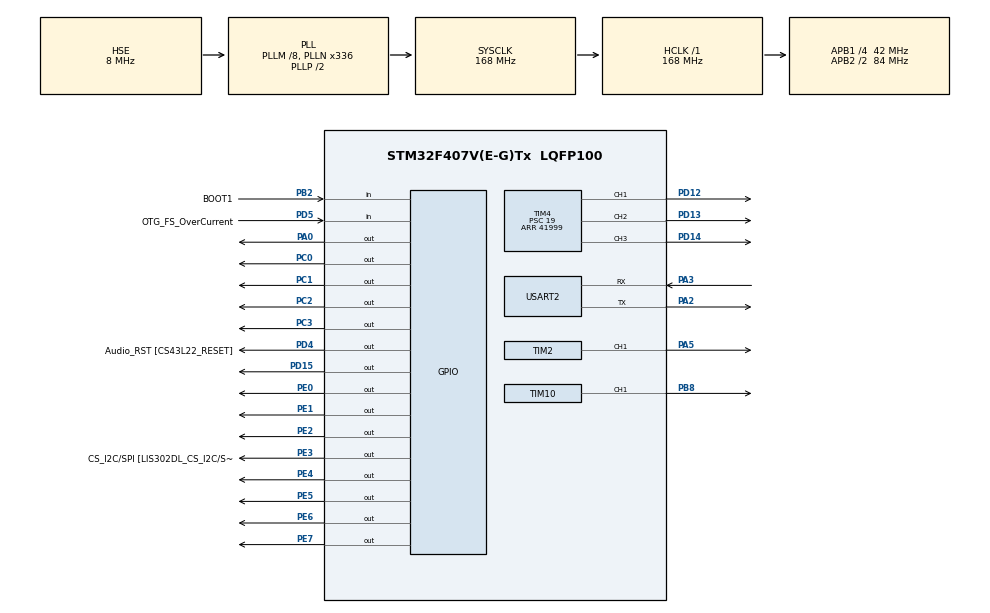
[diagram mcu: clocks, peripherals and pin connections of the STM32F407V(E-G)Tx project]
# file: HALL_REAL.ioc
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Mcu.Family=STM32F4
Mcu.Name=STM32F407V(E-G)Tx
Mcu.Package=LQFP100
NVIC.PriorityGroup=NVIC_PRIORITYGROUP_0
NVIC.TIM7_IRQn=true\:0\:0\:false\:true\:true\:2\:true\:true\:true
NVIC.USART2_IRQn=true\:0\:0\:false\:true\:true\:1\:true\:true\:true
PA0-WKUP.Signal=GPIO_Output
PA10.GPIO_Label=OTG_FS_ID
PA10.GPIO_Mode=GPIO_MODE_AF_PP
PA10.GPIO_PuPd=GPIO_NOPULL
PA10.GPIO_Speed=GPIO_SPEED_FREQ_LOW
PA10.Signal=USB_OTG_FS_ID
PA11.GPIO_Label=OTG_FS_DM
PA11.GPIO_Mode=GPIO_MODE_AF_PP
PA11.GPIO_PuPd=GPIO_NOPULL
PA11.GPIO_Speed=GPIO_SPEED_FREQ_LOW
PA11.Signal=USB_OTG_FS_DM
PA12.GPIO_Label=OTG_FS_DP
PA12.GPIO_Mode=GPIO_MODE_AF_PP
PA12.GPIO_PuPd=GPIO_NOPULL
PA12.GPIO_Speed=GPIO_SPEED_FREQ_LOW
PA12.Signal=USB_OTG_FS_DP
PA13.GPIO_Label=SWDIO
PA13.Mode=Serial_Wire
PA13.Signal=SYS_JTMS-SWDIO
PA14.GPIO_Label=SWCLK
PA14.Mode=Serial_Wire
PA14.Signal=SYS_JTCK-SWCLK
PA2.Mode=Asynchronous
PA2.Signal=USART2_TX
PA3.Mode=Asynchronous
PA3.Signal=USART2_RX
PA4.GPIO_Label=I2S3_WS [CS43L22_LRCK]
PA4.GPIO_Mode=GPIO_MODE_AF_PP
PA4.GPIO_PuPd=GPIO_NOPULL
PA4.GPIO_Speed=GPIO_SPEED_FREQ_LOW
PA4.Signal=I2S3_WS
PA5.Signal=S_TIM2_CH1_ETR
PA6.GPIO_Label=SPI1_MISO [LIS302DL_SDO]
PA6.GPIO_Mode=GPIO_MODE_AF_PP
PA6.GPIO_PuPd=GPIO_NOPULL
PA6.GPIO_Speed=GPIO_SPEED_FREQ_LOW
PA6.Signal=SPI1_MISO
PA7.GPIO_Label=SPI1_MOSI [LIS302DL_SDA/SDI/SDO]
PA7.GPIO_Mode=GPIO_MODE_AF_PP
PA7.GPIO_PuPd=GPIO_NOPULL
PA7.GPIO_Speed=GPIO_SPEED_FREQ_LOW
PA7.Signal=SPI1_MOSI
PA9.GPIO_Label=VBUS_FS
PA9.GPIO_Mode=GPIO_MODE_INPUT
PA9.GPIO_PuPd=GPIO_NOPULL
PA9.Signal=USB_OTG_FS_VBUS
PB10.GPIO_Label=CLK_IN [MP45DT02_CLK]
PB10.GPIO_Mode=GPIO_MODE_AF_PP
PB10.GPIO_PuPd=GPIO_NOPULL
PB10.GPIO_Speed=GPIO_SPEED_FREQ_LOW
PB10.Signal=I2S2_CK
PB2.GPIO_Label=BOOT1
PB2.GPIO_Mode=GPIO_MODE_INPUT
PB2.GPIO_PuPd=GPIO_NOPULL
PB2.Signal=GPIO_Input
PB3.GPIO_Label=SWO
PB3.Signal=SYS_JTDO-SWO
PB6.GPIO_Label=Audio_SCL [CS43L22_SCL]
PB6.GPIO_Mode=GPIO_MODE_AF_OD
PB6.GPIO_Pu=GPIO_PULLUP
PB6.GPIO_PuPd=GPIO_NOPULL
PB6.GPIO_Speed=GPIO_SPEED_FREQ_LOW
PB6.Signal=I2C1_SCL
PB8.Signal=S_TIM10_CH1
PB9.GPIO_Label=Audio_SDA [CS43L22_SDA]
PB9.GPIO_Mode=GPIO_MODE_AF_OD
PB9.GPIO_Pu=GPIO_PULLUP
PB9.GPIO_PuPd=GPIO_NOPULL
PB9.GPIO_Speed=GPIO_SPEED_FREQ_LOW
PB9.Signal=I2C1_SDA
PC0.Signal=GPIO_Output
PC1.Signal=GPIO_Output
PC10.GPIO_Label=I2S3_SCK [CS43L22_SCLK]
PC10.GPIO_Mode=GPIO_MODE_AF_PP
PC10.GPIO_PuPd=GPIO_NOPULL
PC10.GPIO_Speed=GPIO_SPEED_FREQ_LOW
PC10.Signal=I2S3_CK
PC12.GPIO_Label=I2S3_SD [CS43L22_SDIN]
PC12.GPIO_Mode=GPIO_MODE_AF_PP
PC12.GPIO_PuPd=GPIO_NOPULL
PC12.GPIO_Speed=GPIO_SPEED_FREQ_LOW
PC12.Signal=I2S3_SD
PC14-OSC32_IN.GPIO_Label=PC14-OSC32_IN
PC14-OSC32_IN.Mode=LSE-External-Oscillator
PC14-OSC32_IN.Signal=RCC_OSC32_IN
PC15-OSC32_OUT.GPIO_Label=PC15-OSC32_OUT
PC15-OSC32_OUT.Mode=LSE-External-Oscillator
PC15-OSC32_OUT.Signal=RCC_OSC32_OUT
PC2.Signal=GPIO_Output
PC3.Signal=GPIO_Output
PC7.GPIO_Label=I2S3_MCK [CS43L22_MCLK]
PC7.GPIO_Mode=GPIO_MODE_AF_PP
PC7.GPIO_PuPd=GPIO_NOPULL
PC7.GPIO_Speed=GPIO_SPEED_FREQ_LOW
PC7.Signal=I2S3_MCK
PD12.Signal=S_TIM4_CH1
PD13.Signal=S_TIM4_CH2
PD14.Signal=S_TIM4_CH3
PD15.Signal=GPIO_Output
PD4.GPIO_Label=Audio_RST [CS43L22_RESET]
PD4.GPIO_PuPd=GPIO_NOPULL
PD4.GPIO_Speed=GPIO_SPEED_FREQ_LOW
PD4.Signal=GPIO_Output
PD5.GPIO_Label=OTG_FS_OverCurrent
PD5.GPIO_Mode=GPIO_MODE_INPUT
PD5.GPIO_PuPd=GPIO_NOPULL
PD5.Signal=GPIO_Input
PE0.Signal=GPIO_Output
PE1.Signal=GPIO_Output
PE2.Signal=GPIO_Output
PE3.GPIO_Label=CS_I2C/SPI [LIS302DL_CS_I2C/SPI]
PE3.GPIO_PuPd=GPIO_NOPULL
PE3.GPIO_Speed=GPIO_SPEED_FREQ_LOW
PE3.Signal=GPIO_Output
PE4.Signal=GPIO_Output
PE5.Signal=GPIO_Output
PE6.Signal=GPIO_Output
PE7.Signal=GPIO_Output
PH0-OSC_IN.GPIO_Label=PH0-OSC_IN
PH0-OSC_IN.Mode=HSE-External-Oscillator
PH0-OSC_IN.Signal=RCC_OSC_IN
PH1-OSC_OUT.GPIO_Label=PH1-OSC_OUT
PH1-OSC_OUT.Mode=HSE-External-Oscillator
PH1-OSC_OUT.Signal=RCC_OSC_OUT
ProjectManager.HeapSize=0x200
ProjectManager.StackSize=0x400
ProjectManager.TargetToolchain=STM32CubeIDE
RCC.48MHZClocksFreq_Value=48000000
RCC.AHBFreq_Value=168000000
RCC.APB1CLKDivider=RCC_HCLK_DIV4
RCC.APB1Freq_Value=42000000
RCC.APB1TimFreq_Value=84000000
RCC.APB2CLKDivider=RCC_HCLK_DIV2
RCC.APB2Freq_Value=84000000
RCC.APB2TimFreq_Value=168000000
RCC.CortexFreq_Value=168000000
RCC.HCLKFreq_Value=168000000
RCC.HSE_VALUE=8000000
RCC.HSI_VALUE=16000000
RCC.PLLM=8
RCC.PLLN=336
RCC.PLLQ=7
RCC.PLLSourceVirtual=RCC_PLLSOURCE_HSE
RCC.SYSCLKFreq_VALUE=168000000
RCC.SYSCLKSource=RCC_SYSCLKSOURCE_PLLCLK
RCC.VCOOutputFreq_Value=336000000
SH.S_TIM10_CH1.0=TIM10_CH1,PWM Generation1 CH1
SH.S_TIM2_CH1_ETR.0=TIM2_CH1,PWM Generation1 CH1
SH.S_TIM4_CH1.0=TIM4_CH1,PWM Generation1 CH1
SH.S_TIM4_CH2.0=TIM4_CH2,PWM Generation2 CH2
SH.S_TIM4_CH3.0=TIM4_CH3,PWM Generation3 CH3
TIM10.Channel=TIM_CHANNEL_1
TIM10.Period=10000-1
TIM10.Prescaler=335
TIM10.Pulse=100
TIM2.Channel-PWM\ Generation1\ CH1=TIM_CHANNEL_1
TIM2.Period=1000-1
TIM2.Prescaler=167
TIM2.Pulse-PWM\ Generation1\ CH1=500
TIM4.Channel-PWM\ Generation1\ CH1=TIM_CHANNEL_1
TIM4.Channel-PWM\ Generation2\ CH2=TIM_CHANNEL_2
TIM4.Channel-PWM\ Generation3\ CH3=TIM_CHANNEL_3
TIM4.Period=41999
TIM4.Prescaler=19
TIM4.Pulse-PWM\ Generation1\ CH1=21000-1
TIM4.Pulse-PWM\ Generation2\ CH2=10500-1
TIM4.Pulse-PWM\ Generation3\ CH3=5250-1
TIM7.Period=99
TIM7.Prescaler=8399
USART2.VirtualMode=VM_ASYNC
VP_TIM10_VS_ClockSourceINT.Mode=Enable_Timer
VP_TIM2_VS_ClockSourceINT.Mode=Internal
VP_TIM4_VS_ClockSourceINT.Mode=Internal
VP_TIM7_VS_ClockSourceINT.Mode=Enable_Timer
board=STM32F407G-DISC1

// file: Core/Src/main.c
/* USER CODE BEGIN Header */
/**
  ******************************************************************************
  * @file           : main.c
  * @brief          : LCD Stopwatch demo (MM:SS.CS, TIM7 @ 10ms)
  ******************************************************************************
  */
/* USER CODE END Header */
#include "main.h"
#include "tim.h"
#include "usart.h"
#include "gpio.h"

/* USER CODE BEGIN Includes */
#include <stdio.h>     // for snprintf
#include "clcd.h"
/* USER CODE END Includes */

/* USER CODE BEGIN PV */
volatile uint32_t sw_cs = 0;           // centiseconds (0..99)
volatile uint32_t sw_s  = 0;           // seconds      (0..59)
volatile uint32_t sw_m  = 0;           // minutes      (0..99, roll)
volatile uint8_t  sw_tick_flag = 0;    // UI refresh flag set by TIM7 ISR
volatile uint8_t  sw_running   = 1;    // 1=running, 0=paused
/* USER CODE END PV */

void SystemClock_Config(void);
static void MX_NVIC_Init(void);

int main(void)
{

  /* MCU Configuration--------------------------------------------------------*/
  HAL_Init();                       // Reset peripherals, SysTick init
  SystemClock_Config();             // 168 MHz SYSCLK (per your project)

  /* Initialize all configured peripherals */
  MX_GPIO_Init();
  MX_USART2_UART_Init();
  MX_TIM7_Init();                   // <--- Ensure PSC=8399, ARR=99 for 10ms
  MX_TIM4_Init();
  MX_TIM10_Init();
  MX_TIM2_Init();

  /* Initialize interrupts */
  MX_NVIC_Init();

  /* USER CODE BEGIN 2 */
  // LCD init & splash
  CLCD_GPIO_Init();
  CLCD_Init();
  CLCD_Clear();
  CLCD_Puts(0, 0, (uint8_t*)"Stopwatch");
  CLCD_Puts(0, 1, (uint8_t*)"00:00.00");

  // Start TIM7 periodic interrupt (10 ms)
  HAL_TIM_Base_Start_IT(&htim7);
  /* USER CODE END 2 */

  /* Infinite loop */
  while (1)
  {

    /* USER CODE BEGIN 3 */
    if (sw_tick_flag) {
      sw_tick_flag = 0;

      char line2[17];
      // Format: MM:SS.CS (two digits each)
      snprintf(line2, sizeof(line2), "%02lu:%02lu.%02lu",
               (unsigned long)sw_m, (unsigned long)sw_s, (unsigned long)sw_cs);

      // Write only the second line; first line is static "Stopwatch"
      CLCD_Puts(0, 1, (uint8_t*)line2);
    }
  }
  /* USER CODE END 3 */
}

void SystemClock_Config(void)
{
  RCC_OscInitTypeDef RCC_OscInitStruct = {0};
  RCC_ClkInitTypeDef RCC_ClkInitStruct = {0};

  __HAL_RCC_PWR_CLK_ENABLE();
  __HAL_PWR_VOLTAGESCALING_CONFIG(PWR_REGULATOR_VOLTAGE_SCALE1);

  RCC_OscInitStruct.OscillatorType = RCC_OSCILLATORTYPE_HSE;
  RCC_OscInitStruct.HSEState = RCC_HSE_ON;
  RCC_OscInitStruct.PLL.PLLState = RCC_PLL_ON;
  RCC_OscInitStruct.PLL.PLLSource = RCC_PLLSOURCE_HSE;
  RCC_OscInitStruct.PLL.PLLM = 8;
  RCC_OscInitStruct.PLL.PLLN = 336;
  RCC_OscInitStruct.PLL.PLLP = RCC_PLLP_DIV2;
  RCC_OscInitStruct.PLL.PLLQ = 7;
  if (HAL_RCC_OscConfig(&RCC_OscInitStruct) != HAL_OK) {
    Error_Handler();
  }

  RCC_ClkInitStruct.ClockType = RCC_CLOCKTYPE_HCLK | RCC_CLOCKTYPE_SYSCLK
                              | RCC_CLOCKTYPE_PCLK1 | RCC_CLOCKTYPE_PCLK2;
  RCC_ClkInitStruct.SYSCLKSource   = RCC_SYSCLKSOURCE_PLLCLK;
  RCC_ClkInitStruct.AHBCLKDivider  = RCC_SYSCLK_DIV1;
  RCC_ClkInitStruct.APB1CLKDivider = RCC_HCLK_DIV4;
  RCC_ClkInitStruct.APB2CLKDivider = RCC_HCLK_DIV2;

  if (HAL_RCC_ClockConfig(&RCC_ClkInitStruct, FLASH_LATENCY_5) != HAL_OK) {
    Error_Handler();
  }
}

/**
  * @brief NVIC Configuration.
  * @retval None
  */
static void MX_NVIC_Init(void)
{
  HAL_NVIC_SetPriority(USART2_IRQn, 0, 0);
  HAL_NVIC_EnableIRQ(USART2_IRQn);

  HAL_NVIC_SetPriority(TIM7_IRQn, 0, 0);
  HAL_NVIC_EnableIRQ(TIM7_IRQn);
}

/* USER CODE BEGIN 4 */
void HAL_TIM_PeriodElapsedCallback(TIM_HandleTypeDef *htim)
{
  if (htim->Instance == TIM7) {
    if (sw_running) {
      // 10 ms per tick => 100 ticks = 1.00 s
      if (++sw_cs >= 100) {
        sw_cs = 0;
        if (++sw_s >= 60) {
          sw_s = 0;
          if (++sw_m >= 100) {     // roll after 99:59.99
            sw_m = 0;
          }
        }
      }
    }

    // Ask UI to refresh ~every 50 ms to avoid flicker
    static uint8_t every = 0;
    if (++every >= 5) {   // 5 * 10ms = 50ms
      every = 0;
      sw_tick_flag = 1;
    }
  }
}

void HAL_GPIO_EXTI_Callback(uint16_t GPIO_Pin)
{
  if (GPIO_Pin == GPIO_PIN_0) {    // Blue user button on many Nucleo/Discovery
    sw_running = !sw_running;      // toggle pause/run
    sw_tick_flag = 1;              // force LCD update
  }
}
/* USER CODE END 4 */

void Error_Handler(void)
{
  __disable_irq();
  while (1) { }
}
